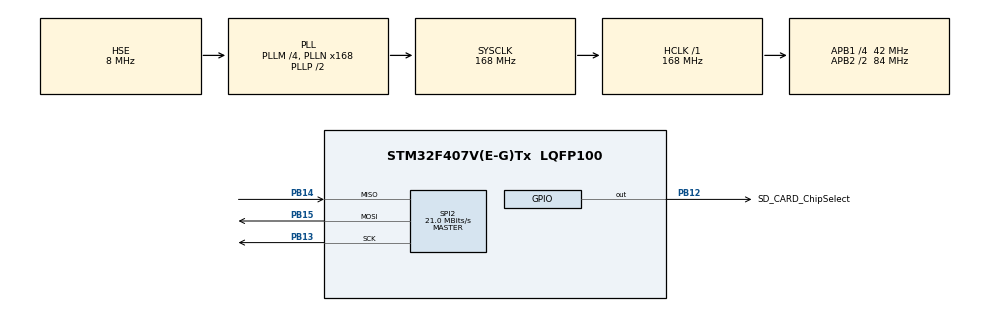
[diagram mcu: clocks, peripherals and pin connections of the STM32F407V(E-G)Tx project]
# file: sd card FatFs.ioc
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Mcu.Family=STM32F4
Mcu.Name=STM32F407V(E-G)Tx
Mcu.Package=LQFP100
NVIC.PriorityGroup=NVIC_PRIORITYGROUP_4
PB12.GPIO_Label=SD_CARD_ChipSelect
PB12.Signal=GPIO_Output
PB13.Mode=Full_Duplex_Master
PB13.Signal=SPI2_SCK
PB14.Mode=Full_Duplex_Master
PB14.Signal=SPI2_MISO
PB15.Mode=Full_Duplex_Master
PB15.Signal=SPI2_MOSI
PH0-OSC_IN.Mode=HSE-External-Oscillator
PH0-OSC_IN.Signal=RCC_OSC_IN
PH1-OSC_OUT.Mode=HSE-External-Oscillator
PH1-OSC_OUT.Signal=RCC_OSC_OUT
ProjectManager.HeapSize=0x200
ProjectManager.StackSize=0x400
ProjectManager.TargetToolchain=STM32CubeIDE
RCC.48MHZClocksFreq_Value=84000000
RCC.AHBFreq_Value=168000000
RCC.APB1CLKDivider=RCC_HCLK_DIV4
RCC.APB1Freq_Value=42000000
RCC.APB1TimFreq_Value=84000000
RCC.APB2CLKDivider=RCC_HCLK_DIV2
RCC.APB2Freq_Value=84000000
RCC.APB2TimFreq_Value=168000000
RCC.CortexFreq_Value=168000000
RCC.HCLKFreq_Value=168000000
RCC.HSE_VALUE=8000000
RCC.HSI_VALUE=16000000
RCC.LSE_VALUE=32768
RCC.PLLM=4
RCC.PLLN=168
RCC.PLLSourceVirtual=RCC_PLLSOURCE_HSE
RCC.SYSCLKFreq_VALUE=168000000
RCC.SYSCLKSource=RCC_SYSCLKSOURCE_PLLCLK
RCC.VCOOutputFreq_Value=336000000
SPI2.CalculateBaudRate=21.0 MBits/s
SPI2.Direction=SPI_DIRECTION_2LINES
SPI2.Mode=SPI_MODE_MASTER
SPI2.VirtualType=VM_MASTER
VP_FATFS_VS_Generic.Mode=User_defined
board=custom

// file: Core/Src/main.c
/* USER CODE BEGIN Header */
/**
  ******************************************************************************
  * @file           : main.c
  * @brief          : Main program body
  ******************************************************************************
  * @attention
  *
  * Copyright (c) 2023 STMicroelectronics.
  * All rights reserved.
  *
  * This software is licensed under terms that can be found in the LICENSE file
  * in the root directory of this software component.
  * If no LICENSE file comes with this software, it is provided AS-IS.
  *
  ******************************************************************************
  */
/* USER CODE END Header */
#include "main.h"
#include "fatfs.h"

 SPI_HandleTypeDef hspi2;

/* USER CODE BEGIN PV */

 FATFS fatfs;
 FRESULT result;
 FIL file_pointer;
 char buffer[100];
 char reading_char;

/* USER CODE END PV */

void SystemClock_Config(void);
static void MX_GPIO_Init(void);
static void MX_SPI2_Init(void);

int main(void)
{

  /* MCU Configuration--------------------------------------------------------*/

  /* Reset of all peripherals, Initializes the Flash interface and the Systick. */
  HAL_Init();

  /* Configure the system clock */
  SystemClock_Config();

  /* Initialize all configured peripherals */
  MX_GPIO_Init();
  MX_SPI2_Init();
  MX_FATFS_Init();
  /* USER CODE BEGIN 2 */

  result = f_mount(&fatfs, "", 0);
  if(result != FR_OK)
  {
	  while(1);
  }

//					OKUMA ISLEMI (READING)

  result = f_open(&file_pointer, "test.txt", FA_READ);
  if(result == FR_OK)
  {
	 result = f_read(&file_pointer, buffer, sizeof(buffer), reading_char);

	 if(result == FR_OK) __NOP();
	 else __NOP();
  }
  else
  {
	  __NOP();
  }
  f_close(&file_pointer);

// 					YAZMA ISLEMI (WRITING)

  result = f_open(&file_pointer, "test2.txt", FA_CREATE_ALWAYS | FA_WRITE);
  if(result == FR_OK)
  {
	 result = f_write(&file_pointer, "HELLO I AM DOGUKAN", 20, reading_char);

	 if(result == FR_OK) __NOP();
	 else __NOP();
  }
  f_close(&file_pointer);

  /* USER CODE END 2 */

  /* Infinite loop */
  while (1)
  {

  }
}

void SystemClock_Config(void)
{
  RCC_OscInitTypeDef RCC_OscInitStruct = {0};
  RCC_ClkInitTypeDef RCC_ClkInitStruct = {0};

  /** Configure the main internal regulator output voltage
  */
  __HAL_RCC_PWR_CLK_ENABLE();
  __HAL_PWR_VOLTAGESCALING_CONFIG(PWR_REGULATOR_VOLTAGE_SCALE1);

  /** Initializes the RCC Oscillators according to the specified parameters
  * in the RCC_OscInitTypeDef structure.
  */
  RCC_OscInitStruct.OscillatorType = RCC_OSCILLATORTYPE_HSE;
  RCC_OscInitStruct.HSEState = RCC_HSE_ON;
  RCC_OscInitStruct.PLL.PLLState = RCC_PLL_ON;
  RCC_OscInitStruct.PLL.PLLSource = RCC_PLLSOURCE_HSE;
  RCC_OscInitStruct.PLL.PLLM = 4;
  RCC_OscInitStruct.PLL.PLLN = 168;
  RCC_OscInitStruct.PLL.PLLP = RCC_PLLP_DIV2;
  RCC_OscInitStruct.PLL.PLLQ = 4;
  if (HAL_RCC_OscConfig(&RCC_OscInitStruct) != HAL_OK)
  {
    Error_Handler();
  }

  /** Initializes the CPU, AHB and APB buses clocks
  */
  RCC_ClkInitStruct.ClockType = RCC_CLOCKTYPE_HCLK|RCC_CLOCKTYPE_SYSCLK
                              |RCC_CLOCKTYPE_PCLK1|RCC_CLOCKTYPE_PCLK2;
  RCC_ClkInitStruct.SYSCLKSource = RCC_SYSCLKSOURCE_PLLCLK;
  RCC_ClkInitStruct.AHBCLKDivider = RCC_SYSCLK_DIV1;
  RCC_ClkInitStruct.APB1CLKDivider = RCC_HCLK_DIV4;
  RCC_ClkInitStruct.APB2CLKDivider = RCC_HCLK_DIV2;

  if (HAL_RCC_ClockConfig(&RCC_ClkInitStruct, FLASH_LATENCY_5) != HAL_OK)
  {
    Error_Handler();
  }
}

static void MX_SPI2_Init(void)
{

  /* SPI2 parameter configuration*/
  hspi2.Instance = SPI2;
  hspi2.Init.Mode = SPI_MODE_MASTER;
  hspi2.Init.Direction = SPI_DIRECTION_2LINES;
  hspi2.Init.DataSize = SPI_DATASIZE_8BIT;
  hspi2.Init.CLKPolarity = SPI_POLARITY_LOW;
  hspi2.Init.CLKPhase = SPI_PHASE_1EDGE;
  hspi2.Init.NSS = SPI_NSS_SOFT;
  hspi2.Init.BaudRatePrescaler = SPI_BAUDRATEPRESCALER_2;
  hspi2.Init.FirstBit = SPI_FIRSTBIT_MSB;
  hspi2.Init.TIMode = SPI_TIMODE_DISABLE;
  hspi2.Init.CRCCalculation = SPI_CRCCALCULATION_DISABLE;
  hspi2.Init.CRCPolynomial = 10;
  if (HAL_SPI_Init(&hspi2) != HAL_OK)
  {
    Error_Handler();
  }

}

static void MX_GPIO_Init(void)
{
  GPIO_InitTypeDef GPIO_InitStruct = {0};

  /* GPIO Ports Clock Enable */
  __HAL_RCC_GPIOH_CLK_ENABLE();
  __HAL_RCC_GPIOB_CLK_ENABLE();

  /*Configure GPIO pin Output Level */
  HAL_GPIO_WritePin(SD_CARD_ChipSelect_GPIO_Port, SD_CARD_ChipSelect_Pin, GPIO_PIN_RESET);

  /*Configure GPIO pin : SD_CARD_ChipSelect_Pin */
  GPIO_InitStruct.Pin = SD_CARD_ChipSelect_Pin;
  GPIO_InitStruct.Mode = GPIO_MODE_OUTPUT_PP;
  GPIO_InitStruct.Pull = GPIO_NOPULL;
  GPIO_InitStruct.Speed = GPIO_SPEED_FREQ_LOW;
  HAL_GPIO_Init(SD_CARD_ChipSelect_GPIO_Port, &GPIO_InitStruct);

}

void Error_Handler(void)
{
  __disable_irq();
  while (1)
  {
  }
}
